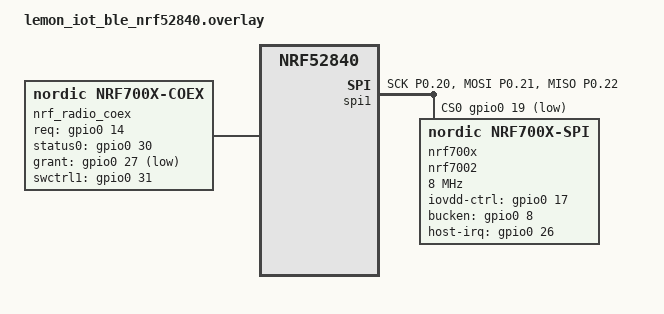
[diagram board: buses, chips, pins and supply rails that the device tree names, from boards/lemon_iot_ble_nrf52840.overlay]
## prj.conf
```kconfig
#
# Copyright (c) 2022 Nordic Semiconductor ASA
#
# SPDX-License-Identifier: LicenseRef-Nordic-5-Clause
#
CONFIG_WIFI=y
CONFIG_WIFI_NRF700X=y
CONFIG_NET_L2_WIFI_MGMT=y
CONFIG_HEAP_MEM_POOL_SIZE=25000

CONFIG_NET_PKT_RX_COUNT=1
CONFIG_NET_PKT_TX_COUNT=1

# System settings
CONFIG_NEWLIB_LIBC=y
CONFIG_NEWLIB_LIBC_NANO=n

# Networking
CONFIG_NETWORKING=y
CONFIG_NET_L2_ETHERNET=y
# TODO: Debug why DHCP is needed to scan
CONFIG_NET_DHCPV4=y
CONFIG_NET_IPV4=y
CONFIG_NET_UDP=y

CONFIG_INIT_STACKS=y

# Memories
CONFIG_MAIN_STACK_SIZE=4096
CONFIG_SYSTEM_WORKQUEUE_STACK_SIZE=2048
CONFIG_NET_TX_STACK_SIZE=4096
CONFIG_NET_RX_STACK_SIZE=4096

# Debugging
CONFIG_STACK_SENTINEL=y
CONFIG_DEBUG_COREDUMP=y
CONFIG_DEBUG_COREDUMP_BACKEND_LOGGING=y
CONFIG_DEBUG_COREDUMP_MEMORY_DUMP_MIN=y

# Logging
CONFIG_LOG=y
CONFIG_PRINTK=y

# Add for net_mgmt(NET_REQUEST_ETHERNET_SET_MAC_ADDRESS) on SDK 2.2.0. Doesn't appear to be required on 2.3.0
CONFIG_NET_L2_ETHERNET_MGMT=y
```

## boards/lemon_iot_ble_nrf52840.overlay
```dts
/*
 * Overlay for Lemon-IoT-BLE-nRF52840 + nRF7002 WiFi 6 Companion IC
 * Copyright (c) 2023 Aaron Mohtar & Co Pty Ltd
 *
 * SPDX-License-Identifier: Apache-2.0
 */

/ {
	nrf_radio_coex: nrf7002-coex {
		status = "okay";
		compatible = "nordic,nrf700x-coex";
		req-gpios = <&gpio0 14 GPIO_ACTIVE_HIGH>;
		status0-gpios = <&gpio0 30 GPIO_ACTIVE_HIGH>;
		grant-gpios = <&gpio0 27 (GPIO_PULL_DOWN | GPIO_ACTIVE_LOW)>;
		swctrl1-gpios = <&gpio0 31 GPIO_ACTIVE_HIGH>;
		//btrf-switch-gpios = <&gpio1 10 GPIO_ACTIVE_HIGH>;
	};
};

&spi1 {
	status = "okay";
	pinctrl-0 = <&spi1_default>;
	pinctrl-1 = <&spi1_sleep>;
	cs-gpios = <&gpio0 19 GPIO_ACTIVE_LOW>;
	pinctrl-names = "default", "sleep";
	nrf700x: nrf7002@0 {
		status = "okay";
		compatible = "nordic,nrf700x-spi";
		reg = <0>;
		spi-max-frequency = <DT_FREQ_M(8)>;
		/* Wi-Fi Pins used */
		iovdd-ctrl-gpios = <&gpio0 17 GPIO_ACTIVE_HIGH>;
		bucken-gpios = <&gpio0 8 GPIO_ACTIVE_HIGH>;
		host-irq-gpios = <&gpio0 26 GPIO_ACTIVE_HIGH>;
	};
};

&pinctrl {
	spi1_default: spi1_default {
		group1 {
			psels = <NRF_PSEL(SPIM_SCK, 0, 20)>,
					<NRF_PSEL(SPIM_MOSI, 0, 21)>,
					<NRF_PSEL(SPIM_MISO, 0, 22)>;
		};
	};

	spi1_sleep: spi1_sleep {
		group1 {
			psels = <NRF_PSEL(SPIM_SCK, 0, 20)>,
					<NRF_PSEL(SPIM_MOSI, 0, 21)>,
					<NRF_PSEL(SPIM_MISO, 0, 22)>;
			low-power-enable;
		};
	};
};
```

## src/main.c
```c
/*
 * Copyright (c) 2022 Nordic Semiconductor ASA
 *
 * SPDX-License-Identifier: LicenseRef-Nordic-5-Clause
 */

/** @file
 * @brief WiFi scan sample
 */

#include <zephyr/logging/log.h>
LOG_MODULE_REGISTER(scan, CONFIG_LOG_DEFAULT_LEVEL);

#include <nrfx_clock.h>
#include <zephyr/kernel.h>
#include <stdio.h>
#include <stdlib.h>
#include <zephyr/shell/shell.h>
#include <zephyr/sys/printk.h>
#include <zephyr/init.h>

#include <zephyr/net/net_if.h>
#include <zephyr/net/wifi_mgmt.h>
#include <zephyr/net/ethernet_mgmt.h>
#include <zephyr/net/net_event.h>

#include "net_private.h"

#define WIFI_SHELL_MODULE "wifi"

#define WIFI_SHELL_MGMT_EVENTS (NET_EVENT_WIFI_SCAN_RESULT |		\
				NET_EVENT_WIFI_SCAN_DONE)

static uint32_t scan_result;

static struct net_mgmt_event_callback wifi_shell_mgmt_cb;

static void handle_wifi_scan_result(struct net_mgmt_event_callback *cb)
{
	const struct wifi_scan_result *entry =
		(const struct wifi_scan_result *)cb->info;
	uint8_t mac_string_buf[sizeof("xx:xx:xx:xx:xx:xx")];

	scan_result++;

	if (scan_result == 1U) {
		printk("%-4s | %-32s %-5s | %-4s | %-4s | %-5s | %s\n",
			   "Num", "SSID", "(len)", "Chan", "RSSI", "Security", "BSSID");
	}

	printk("%-4d | %-32s %-5u | %-4u | %-4d | %-5s | %s\n",
		   scan_result, entry->ssid, entry->ssid_length,
		   entry->channel, entry->rssi,
		   (entry->security == WIFI_SECURITY_TYPE_PSK ? "WPA/WPA2" : "Open    "),
		   ((entry->mac_length) ?
			net_sprint_ll_addr_buf(entry->mac, WIFI_MAC_ADDR_LEN, mac_string_buf,
						sizeof(mac_string_buf)) : ""));
}

static void handle_wifi_scan_done(struct net_mgmt_event_callback *cb)
{
	const struct wifi_status *status =
		(const struct wifi_status *)cb->info;

	if (status->status) {
		LOG_ERR("Scan request failed (%d)", status->status);
	} else {
		LOG_INF("Scan request done");
	}

	scan_result = 0U;
}

static void wifi_mgmt_event_handler(struct net_mgmt_event_callback *cb,
					 uint32_t mgmt_event, struct net_if *iface)
{
	switch (mgmt_event) {
	case NET_EVENT_WIFI_SCAN_RESULT:
		handle_wifi_scan_result(cb);
		break;
	case NET_EVENT_WIFI_SCAN_DONE:
		handle_wifi_scan_done(cb);
		break;
	default:
		break;
	}
}

static int wifi_scan(void)
{
	struct net_if *iface = net_if_get_default();

	if (net_mgmt(NET_REQUEST_WIFI_SCAN, iface, NULL, 0)) {
		LOG_ERR("Scan request failed");

		return -ENOEXEC;
	}

	LOG_INF("Scan requested");

	return 0;
}

void wifi_interface_setup()
{
	/*
	 * New nRF7002's come with the OTP memory blank. i.e. no programmed MAC Address.
	 * It will report:
	 * <inf> wifi_nrf: wifi_nrf_fmac_otp_mac_addr_get:  Invalid OTP MAC addr: 000000000000
	 * <err> wifi_nrf: wifi_nrf_if_start_zep: Invalid MAC address: 00:00:00:00:00:00
	 * and the wlan0 interface will not be up.
	 * 
	 * We set the MAC address and bring the interface up
	 */

	int ret;
	struct net_if *iface = net_if_get_default();
	struct net_linkaddr *linkaddr = net_if_get_link_addr(iface);
	struct ethernet_req_params params = {0};
	bool mac_non_zero = false;

	if (linkaddr->type == NET_LINK_ETHERNET)
	{
		printk("Ethernet MAC Address: ");
		for (int i = 0; i < linkaddr->len; i++) {
			printk("%02X",linkaddr->addr[i]);
			if (i < (linkaddr->len -1)) printk(":");
			if (linkaddr->addr[i] != 0x00) mac_non_zero = true;
		}
		printk(".\r\n");
	}

	if (net_if_is_up(iface)) {
		printk("Network Interface %s is up.\r\n", iface->if_dev->dev->name);
	} else {
		printk("Network Interface %s is down.\r\n", iface->if_dev->dev->name);
	}

	if (!mac_non_zero) {
		printk("Setting MAC Address\r\n");

		int8_t mac_id_string[6] = {0x00, 0x00, 0x00, 0x00, 0x00, 0x02};
		memcpy(params.mac_address.addr, mac_id_string, 6);

		ret = net_mgmt(NET_REQUEST_ETHERNET_SET_MAC_ADDRESS, iface, &params, sizeof(struct ethernet_req_params));
		if (ret != 0)
		{
			printk("Eth Set MAC Address Request Failed (%d)\n",ret);
		}

		if (net_if_up(iface) == 0) {
			printk("Network Interface %s is up.\r\n", iface->if_dev->dev->name);
		} else {
			printk("Unable to bring up %s interface\n", iface->if_dev->dev->name);
		}

		k_sleep(K_SECONDS(1));
	}
}

void main(void)
{
	scan_result = 0U;

	net_mgmt_init_event_callback(&wifi_shell_mgmt_cb,
					 wifi_mgmt_event_handler,
					 WIFI_SHELL_MGMT_EVENTS);

	net_mgmt_add_event_callback(&wifi_shell_mgmt_cb);

#ifdef CLOCK_FEATURE_HFCLK_DIVIDE_PRESENT
	/* For now hardcode to 128MHz */
	nrfx_clock_divider_set(NRF_CLOCK_DOMAIN_HFCLK,
				   NRF_CLOCK_HFCLK_DIV_1);
#endif
	k_sleep(K_SECONDS(1));
	LOG_INF("Starting %s with CPU frequency: %d MHz", CONFIG_BOARD, SystemCoreClock / MHZ(1));

	wifi_interface_setup();
	k_sleep(K_SECONDS(1));

	wifi_scan();
}
```
